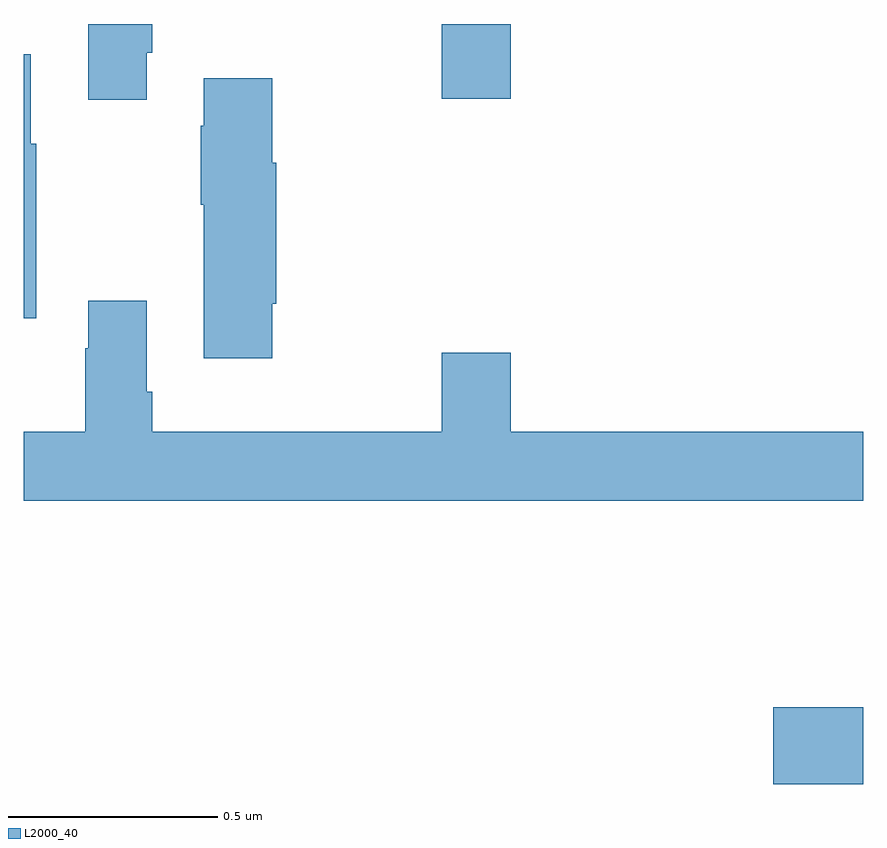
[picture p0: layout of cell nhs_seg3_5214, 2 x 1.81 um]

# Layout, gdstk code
import gdstk
lib = gdstk.Library(unit=1e-6, precision=1e-09)
def R(c, l, rs):  # rectangles x0, y0, x1, y1
    for r in rs: c.add(gdstk.rectangle(r[:2], r[2:], *l))
def P(c, l, *ps):  # polygons
    for p in ps: c.add(gdstk.Polygon(p, *l))
L2000_40 = (2000, 40)

nhs_seg3_5214 = lib.new_cell('nhs_seg3_5214')
R(nhs_seg3_5214, L2000_40, [(177.786,685.589,178,685.772), (176.996,687.222,177.16,687.4)])
P(nhs_seg3_5214, L2000_40, [(176.293,687.331),(176.306,687.331),(176.306,687.4),(176.153,687.4),(176.153,687.219),(176.293,687.219)],
  [(176.029,687.115),(176.017,687.115),(176.017,687.328),(176,687.328),(176,686.699),(176.029,686.699)],
  [(176.592,686.733),(176.602,686.733),(176.602,687.069),(176.592,687.069),(176.592,687.271),(176.429,687.271),(176.429,687.158),(176.422,687.158),(176.422,686.969),(176.429,686.969),(176.429,686.604),(176.592,686.604)],
  [(178,686.428),(177.16,686.428),(177.16,686.617),(176.996,686.617),(176.996,686.428),(176.306,686.428),(176.306,686.524),(176.293,686.524),(176.293,686.74),(176.153,686.74),(176.153,686.627),(176.146,686.627),(176.146,686.428),(176,686.428),(176,686.264),(178,686.264)])

lib.write_gds('nhs_seg3_5214.gds')
